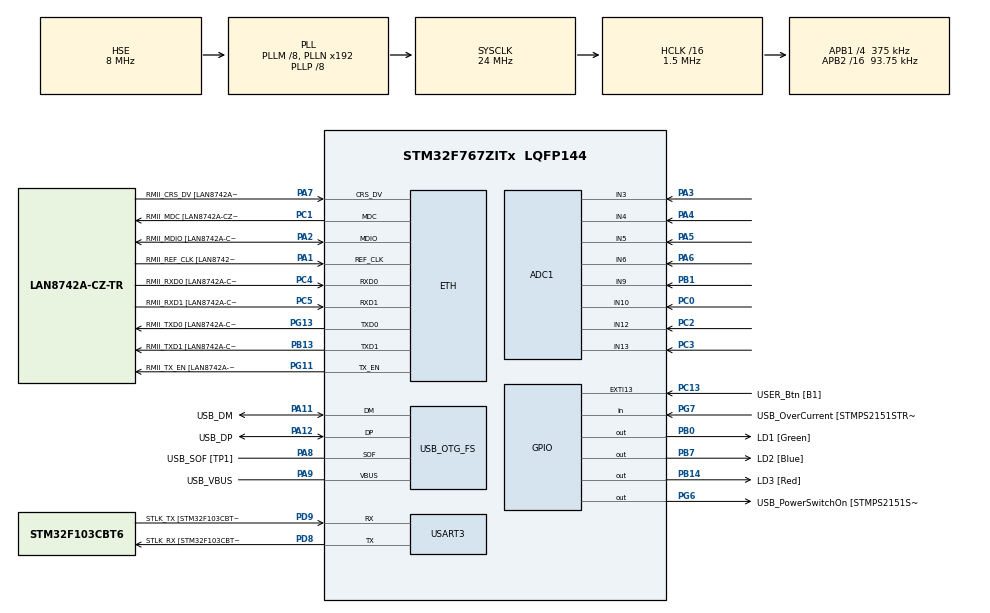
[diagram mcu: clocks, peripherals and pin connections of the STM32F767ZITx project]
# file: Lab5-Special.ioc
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ADC1.Channel-0\#ChannelRegularConversion=ADC_CHANNEL_12
ADC1.Channel-1\#ChannelRegularConversion=ADC_CHANNEL_13
ADC1.Channel-2\#ChannelRegularConversion=ADC_CHANNEL_10
ADC1.Channel-3\#ChannelRegularConversion=ADC_CHANNEL_3
ADC1.Channel-4\#ChannelRegularConversion=ADC_CHANNEL_4
ADC1.Channel-5\#ChannelRegularConversion=ADC_CHANNEL_5
ADC1.Channel-6\#ChannelRegularConversion=ADC_CHANNEL_6
ADC1.Channel-7\#ChannelRegularConversion=ADC_CHANNEL_9
ADC1.ClockPrescaler=ADC_CLOCK_SYNC_PCLK_DIV4
ADC1.ContinuousConvMode=ENABLE
ADC1.DMAContinuousRequests=ENABLE
ADC1.NbrOfConversion=8
ADC1.NbrOfConversionFlag=1
ADC1.Rank-0\#ChannelRegularConversion=1
ADC1.Rank-1\#ChannelRegularConversion=2
ADC1.Rank-2\#ChannelRegularConversion=3
ADC1.Rank-3\#ChannelRegularConversion=4
ADC1.Rank-4\#ChannelRegularConversion=5
ADC1.Rank-5\#ChannelRegularConversion=6
ADC1.Rank-6\#ChannelRegularConversion=7
ADC1.Rank-7\#ChannelRegularConversion=8
ADC1.SamplingTime-0\#ChannelRegularConversion=ADC_SAMPLETIME_480CYCLES
ADC1.SamplingTime-1\#ChannelRegularConversion=ADC_SAMPLETIME_480CYCLES
ADC1.SamplingTime-2\#ChannelRegularConversion=ADC_SAMPLETIME_480CYCLES
ADC1.SamplingTime-3\#ChannelRegularConversion=ADC_SAMPLETIME_480CYCLES
ADC1.SamplingTime-4\#ChannelRegularConversion=ADC_SAMPLETIME_480CYCLES
ADC1.SamplingTime-5\#ChannelRegularConversion=ADC_SAMPLETIME_480CYCLES
ADC1.SamplingTime-6\#ChannelRegularConversion=ADC_SAMPLETIME_480CYCLES
ADC1.SamplingTime-7\#ChannelRegularConversion=ADC_SAMPLETIME_480CYCLES
ADC1.ScanConvMode=ADC_SCAN_ENABLE
ADC1.master=1
Dma.ADC1.0.Direction=DMA_PERIPH_TO_MEMORY
Dma.ADC1.0.FIFOMode=DMA_FIFOMODE_DISABLE
Dma.ADC1.0.Instance=DMA2_Stream0
Dma.ADC1.0.MemDataAlignment=DMA_MDATAALIGN_WORD
Dma.ADC1.0.MemInc=DMA_MINC_ENABLE
Dma.ADC1.0.Mode=DMA_CIRCULAR
Dma.ADC1.0.PeriphDataAlignment=DMA_PDATAALIGN_WORD
Dma.ADC1.0.PeriphInc=DMA_PINC_DISABLE
Dma.ADC1.0.Priority=DMA_PRIORITY_LOW
Dma.Request0=ADC1
ETH.MediaInterface=HAL_ETH_RMII_MODE
ETH.PHY_Name=LAN8742A_PHY_ADDRESS
ETH.PHY_Value=0
ETH.PhyAddress=0
Mcu.Family=STM32F7
Mcu.Name=STM32F767ZITx
Mcu.Package=LQFP144
NVIC.DMA2_Stream0_IRQn=true\:1\:0\:true\:false\:true\:false\:true\:true
NVIC.PriorityGroup=NVIC_PRIORITYGROUP_2
PA1.GPIO_Label=RMII_REF_CLK [LAN8742A-CZ-TR_REFCLK0]
PA1.Mode=RMII
PA1.Signal=ETH_REF_CLK
PA10.GPIO_Label=USB_ID
PA10.Signal=USB_OTG_FS_ID
PA11.GPIO_Label=USB_DM
PA11.Mode=Device_Only
PA11.Signal=USB_OTG_FS_DM
PA12.GPIO_Label=USB_DP
PA12.Mode=Device_Only
PA12.Signal=USB_OTG_FS_DP
PA13.GPIO_Label=TMS
PA13.Mode=Serial_Wire
PA13.Signal=SYS_JTMS-SWDIO
PA14.GPIO_Label=TCK
PA14.Mode=Serial_Wire
PA14.Signal=SYS_JTCK-SWCLK
PA2.GPIO_Label=RMII_MDIO [LAN8742A-CZ-TR_MDIO]
PA2.Mode=RMII
PA2.Signal=ETH_MDIO
PA3.Signal=ADCx_IN3
PA4.Signal=ADCx_IN4
PA5.Signal=ADCx_IN5
PA6.Signal=ADCx_IN6
PA7.GPIO_Label=RMII_CRS_DV [LAN8742A-CZ-TR_CRS_DV]
PA7.Mode=RMII
PA7.Signal=ETH_CRS_DV
PA8.GPIO_Label=USB_SOF [TP1]
PA8.Mode=Activate_SOF_FS
PA8.Signal=USB_OTG_FS_SOF
PA9.GPIO_Label=USB_VBUS
PA9.Mode=Activate_VBUS
PA9.Signal=USB_OTG_FS_VBUS
PB0.GPIO_Label=LD1 [Green]
PB0.Signal=GPIO_Output
PB1.Signal=ADCx_IN9
PB13.GPIO_Label=RMII_TXD1 [LAN8742A-CZ-TR_TXD1]
PB13.Mode=RMII
PB13.Signal=ETH_TXD1
PB14.GPIO_Label=LD3 [Red]
PB14.Signal=GPIO_Output
PB3.GPIO_Label=SWO
PB3.Signal=SYS_JTDO-SWO
PB7.GPIO_Label=LD2 [Blue]
PB7.Signal=GPIO_Output
PC0.Signal=ADCx_IN10
PC1.GPIO_Label=RMII_MDC [LAN8742A-CZ-TR_MDC]
PC1.Mode=RMII
PC1.Signal=ETH_MDC
PC13.GPIO_Label=USER_Btn [B1]
PC13.Signal=GPXTI13
PC14/OSC32_IN.Mode=LSE-External-Oscillator
PC14/OSC32_IN.Signal=RCC_OSC32_IN
PC15/OSC32_OUT.Mode=LSE-External-Oscillator
PC15/OSC32_OUT.Signal=RCC_OSC32_OUT
PC2.Signal=ADCx_IN12
PC3.Signal=ADCx_IN13
PC4.GPIO_Label=RMII_RXD0 [LAN8742A-CZ-TR_RXD0]
PC4.Mode=RMII
PC4.Signal=ETH_RXD0
PC5.GPIO_Label=RMII_RXD1 [LAN8742A-CZ-TR_RXD1]
PC5.Mode=RMII
PC5.Signal=ETH_RXD1
PD8.GPIO_Label=STLK_RX [STM32F103CBT6_PA3]
PD8.Mode=Asynchronous
PD8.Signal=USART3_TX
PD9.GPIO_Label=STLK_TX [STM32F103CBT6_PA2]
PD9.Mode=Asynchronous
PD9.Signal=USART3_RX
PG11.GPIO_Label=RMII_TX_EN [LAN8742A-CZ-TR_TXEN]
PG11.Mode=RMII
PG11.Signal=ETH_TX_EN
PG13.GPIO_Label=RMII_TXD0 [LAN8742A-CZ-TR_TXD0]
PG13.Mode=RMII
PG13.Signal=ETH_TXD0
PG6.GPIO_Label=USB_PowerSwitchOn [STMPS2151STR_EN]
PG6.Signal=GPIO_Output
PG7.GPIO_Label=USB_OverCurrent [STMPS2151STR_FAULT]
PG7.Signal=GPIO_Input
PH0/OSC_IN.GPIO_Label=MCO [STM32F103CBT6_PA8]
PH0/OSC_IN.Mode=HSE-External-Clock-Source
PH0/OSC_IN.Signal=RCC_OSC_IN
PH1/OSC_OUT.Mode=HSE-External-Clock-Source
PH1/OSC_OUT.Signal=RCC_OSC_OUT
ProjectManager.HeapSize=0x200
ProjectManager.StackSize=0x400
ProjectManager.TargetToolchain=CMake
RCC.48MHZClocksFreq_Value=24000000
RCC.AHBCLKDivider=RCC_SYSCLK_DIV16
RCC.AHBFreq_Value=1500000
RCC.APB1CLKDivider=RCC_HCLK_DIV4
RCC.APB1Freq_Value=375000
RCC.APB1TimFreq_Value=750000
RCC.APB2CLKDivider=RCC_HCLK_DIV16
RCC.APB2Freq_Value=93750
RCC.APB2TimFreq_Value=187500
RCC.CortexFreq_Value=1500000
RCC.HCLKFreq_Value=1500000
RCC.HSE_VALUE=8000000
RCC.HSI_VALUE=16000000
RCC.PLL48CLockSelection=RCC_CLK48SOURCE_PLLSAIP
RCC.PLLM=8
RCC.PLLMUL=RCC_PLL_MUL9
RCC.PLLP=RCC_PLLP_DIV8
RCC.PLLQ=15
RCC.PRESCALERUSB=RCC_USBCLKSOURCE_PLL_DIV1_5
RCC.SYSCLKFreq_VALUE=24000000
RCC.SYSCLKSource=RCC_SYSCLKSOURCE_PLLCLK
RCC.SYSCLKSourceVirtual=RCC_SYSCLKSOURCE_PLLCLK
RCC.USART3CLockSelection=RCC_USART3CLKSOURCE_HSI
RCC.USBFreq_Value=96000000
RCC.VCOOutputFreq_Value=192000000
SH.ADCx_IN10.0=ADC1_IN10,IN10
SH.ADCx_IN12.0=ADC1_IN12,IN12
SH.ADCx_IN13.0=ADC1_IN13,IN13
SH.ADCx_IN3.0=ADC1_IN3,IN3
SH.ADCx_IN4.0=ADC1_IN4,IN4
SH.ADCx_IN5.0=ADC1_IN5,IN5
SH.ADCx_IN6.0=ADC1_IN6,IN6
SH.ADCx_IN9.0=ADC1_IN9,IN9
USART3.VirtualMode-Asynchronous=VM_ASYNC
USB_OTG_FS.VirtualMode=Device_Only
board=NUCLEO-F767ZI

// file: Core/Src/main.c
/* USER CODE BEGIN Header */
/**
  ******************************************************************************
  * @file           : main.c
  * @brief          : Main program body
  ******************************************************************************
  * @attention
  *
  * Copyright (c) 2025 STMicroelectronics.
  * All rights reserved.
  *
  * This software is licensed under terms that can be found in the LICENSE file
  * in the root directory of this software component.
  * If no LICENSE file comes with this software, it is provided AS-IS.
  *
  ******************************************************************************
  */
/* USER CODE END Header */
#include "main.h"
#include "stm32f7xx_hal.h"
#include "string.h"

/* USER CODE BEGIN Includes */
#include <stdio.h>
#include <stdint.h>
/* USER CODE END Includes */

/* USER CODE BEGIN PD */
#define ADC1_VALUE_COUNT 8
/* USER CODE END PD */

#if defined ( __ICCARM__ ) /*!< IAR Compiler */
#pragma location=0x2007c000
ETH_DMADescTypeDef  DMARxDscrTab[ETH_RX_DESC_CNT]; /* Ethernet Rx DMA Descriptors */
#pragma location=0x2007c0a0
ETH_DMADescTypeDef  DMATxDscrTab[ETH_TX_DESC_CNT]; /* Ethernet Tx DMA Descriptors */

#elif defined ( __CC_ARM )  /* MDK ARM Compiler */

__attribute__((at(0x2007c000))) ETH_DMADescTypeDef  DMARxDscrTab[ETH_RX_DESC_CNT]; /* Ethernet Rx DMA Descriptors */
__attribute__((at(0x2007c0a0))) ETH_DMADescTypeDef  DMATxDscrTab[ETH_TX_DESC_CNT]; /* Ethernet Tx DMA Descriptors */

#elif defined ( __GNUC__ ) /* GNU Compiler */

ETH_DMADescTypeDef DMARxDscrTab[ETH_RX_DESC_CNT] __attribute__((section(".RxDecripSection"))); /* Ethernet Rx DMA Descriptors */
ETH_DMADescTypeDef DMATxDscrTab[ETH_TX_DESC_CNT] __attribute__((section(".TxDecripSection")));   /* Ethernet Tx DMA Descriptors */
#endif

ETH_TxPacketConfig TxConfig;

ADC_HandleTypeDef hadc1;
DMA_HandleTypeDef hdma_adc1;

ETH_HandleTypeDef heth;

UART_HandleTypeDef huart3;

PCD_HandleTypeDef hpcd_USB_OTG_FS;

/* USER CODE BEGIN PV */
volatile uint8_t adcConversionComplete = 0;
volatile uint32_t adc1Values[ADC1_VALUE_COUNT];
char adcValueDisplayTemplatePt1[] = "\
\r\n\
ADC1_CH12 %#010x  Vin = %.2f V\r\n\
ADC1_CH13 %#010x  Vin = %.2f V\r\n\
ADC1_CH10 %#010x  Vin = %.2f V\r\n\
ADC1_CH3 %#010x  Vin = %.2f V\r\n";
char adcValueDisplayTemplatePt2[] = "\
\r\n\
ADC1_CH4 %#010x  Vin = %.2f V\r\n\
ADC1_CH5 %#010x  Vin = %.2f V\r\n\
ADC1_CH6 %#010x  Vin = %.2f V\r\n\
ADC1_CH9 %#010x  Vin = %.2f V\r\n";
char adcValueDisplayRender[300] = "\0";
/* USER CODE END PV */

void SystemClock_Config(void);
static void MX_GPIO_Init(void);
static void MX_DMA_Init(void);
static void MX_ADC1_Init(void);
static void MX_ETH_Init(void);
static void MX_USART3_UART_Init(void);
static void MX_USB_OTG_FS_PCD_Init(void);

/* USER CODE BEGIN 0 */
float calculateVin(uint32_t adcValue) {
  float v = ((float)adcValue / (float)(uint32_t)0x00000fff) * 3.3f;
  return v;
}

void adcDisplayReadValuesPt1() {
  sprintf(adcValueDisplayRender, adcValueDisplayTemplatePt1,
    adc1Values[0], calculateVin(adc1Values[0]),
    adc1Values[1], calculateVin(adc1Values[1]),
    adc1Values[2], calculateVin(adc1Values[2]),
    adc1Values[3], calculateVin(adc1Values[3])
  );
  HAL_UART_Transmit(&huart3, (uint8_t*) adcValueDisplayRender, strlen(adcValueDisplayRender), 100);
}

void adcDisplayReadValuesPt2() {
  sprintf(adcValueDisplayRender, adcValueDisplayTemplatePt2,
    adc1Values[4], calculateVin(adc1Values[4]),
    adc1Values[5], calculateVin(adc1Values[5]),
    adc1Values[6], calculateVin(adc1Values[6]),
    adc1Values[7], calculateVin(adc1Values[7])
  );
  HAL_UART_Transmit(&huart3, (uint8_t*) adcValueDisplayRender, strlen(adcValueDisplayRender), 100);
}

/* USER CODE END 0 */

int main(void)
{

  /* MCU Configuration--------------------------------------------------------*/

  /* Reset of all peripherals, Initializes the Flash interface and the Systick. */
  HAL_Init();

  /* Configure the system clock */
  SystemClock_Config();

  /* Initialize all configured peripherals */
  MX_GPIO_Init();
  MX_DMA_Init();
  MX_ADC1_Init();
  MX_ETH_Init();
  MX_USART3_UART_Init();
  MX_USB_OTG_FS_PCD_Init();
  /* USER CODE BEGIN 2 */
  HAL_ADC_Start_DMA(&hadc1, (uint32_t*) adc1Values, ADC1_VALUE_COUNT);
  /* USER CODE END 2 */

  /* Infinite loop */
  while (1)
  {

    /* USER CODE BEGIN 3 */
    // while (__HAL_UART_GET_FLAG(&huart3, UART_FLAG_TC) == RESET) {}
    // HAL_UART_Transmit(&huart3, (uint8_t*) "starting a while loop\r\n", 24, 100);

    // HAL_ADC_Start_DMA(&hadc1, (uint32_t*) adc1Values, ADC1_VALUE_COUNT);
    // HAL_Delay(300);
    // HAL_ADC_Stop_DMA(&hadc1);
    // HAL_Delay(300);

    // if (adcConversionComplete == 1) {
    //   adcDisplayReadValues();
    //   adcConversionComplete = 0;
    // }
    // HAL_Delay(300);

    // char testTemplate[] = "%#010x\r\n";
    // char testRender[100] = "\0";

    // sprintf(testRender, testTemplate, 0);

    // HAL_UART_Transmit(&huart3, (uint8_t*) testRender, strlen(testRender), 100);
    // HAL_Delay(300);
  }
  /* USER CODE END 3 */
}

void SystemClock_Config(void)
{
  RCC_OscInitTypeDef RCC_OscInitStruct = {0};
  RCC_ClkInitTypeDef RCC_ClkInitStruct = {0};

  /** Configure LSE Drive Capability
  */
  HAL_PWR_EnableBkUpAccess();

  /** Configure the main internal regulator output voltage
  */
  __HAL_RCC_PWR_CLK_ENABLE();
  __HAL_PWR_VOLTAGESCALING_CONFIG(PWR_REGULATOR_VOLTAGE_SCALE3);

  /** Initializes the RCC Oscillators according to the specified parameters
  * in the RCC_OscInitTypeDef structure.
  */
  RCC_OscInitStruct.OscillatorType = RCC_OSCILLATORTYPE_HSI|RCC_OSCILLATORTYPE_HSE;
  RCC_OscInitStruct.HSEState = RCC_HSE_BYPASS;
  RCC_OscInitStruct.HSIState = RCC_HSI_ON;
  RCC_OscInitStruct.HSICalibrationValue = RCC_HSICALIBRATION_DEFAULT;
  RCC_OscInitStruct.PLL.PLLState = RCC_PLL_ON;
  RCC_OscInitStruct.PLL.PLLSource = RCC_PLLSOURCE_HSE;
  RCC_OscInitStruct.PLL.PLLM = 8;
  RCC_OscInitStruct.PLL.PLLN = 192;
  RCC_OscInitStruct.PLL.PLLP = RCC_PLLP_DIV8;
  RCC_OscInitStruct.PLL.PLLQ = 15;
  RCC_OscInitStruct.PLL.PLLR = 2;
  if (HAL_RCC_OscConfig(&RCC_OscInitStruct) != HAL_OK)
  {
    Error_Handler();
  }

  /** Initializes the CPU, AHB and APB buses clocks
  */
  RCC_ClkInitStruct.ClockType = RCC_CLOCKTYPE_HCLK|RCC_CLOCKTYPE_SYSCLK
                              |RCC_CLOCKTYPE_PCLK1|RCC_CLOCKTYPE_PCLK2;
  RCC_ClkInitStruct.SYSCLKSource = RCC_SYSCLKSOURCE_PLLCLK;
  RCC_ClkInitStruct.AHBCLKDivider = RCC_SYSCLK_DIV16;
  RCC_ClkInitStruct.APB1CLKDivider = RCC_HCLK_DIV4;
  RCC_ClkInitStruct.APB2CLKDivider = RCC_HCLK_DIV16;

  if (HAL_RCC_ClockConfig(&RCC_ClkInitStruct, FLASH_LATENCY_0) != HAL_OK)
  {
    Error_Handler();
  }
}

static void MX_ADC1_Init(void)
{

  ADC_ChannelConfTypeDef sConfig = {0};

  /** Configure the global features of the ADC (Clock, Resolution, Data Alignment and number of conversion)
  */
  hadc1.Instance = ADC1;
  hadc1.Init.ClockPrescaler = ADC_CLOCK_SYNC_PCLK_DIV8;
  hadc1.Init.Resolution = ADC_RESOLUTION_12B;
  hadc1.Init.ScanConvMode = ADC_SCAN_ENABLE;
  hadc1.Init.ContinuousConvMode = ENABLE;
  hadc1.Init.DiscontinuousConvMode = DISABLE;
  hadc1.Init.ExternalTrigConvEdge = ADC_EXTERNALTRIGCONVEDGE_NONE;
  hadc1.Init.ExternalTrigConv = ADC_SOFTWARE_START;
  hadc1.Init.DataAlign = ADC_DATAALIGN_RIGHT;
  hadc1.Init.NbrOfConversion = 8;
  hadc1.Init.DMAContinuousRequests = ENABLE;
  hadc1.Init.EOCSelection = ADC_EOC_SINGLE_CONV;
  if (HAL_ADC_Init(&hadc1) != HAL_OK)
  {
    Error_Handler();
  }

  /** Configure for the selected ADC regular channel its corresponding rank in the sequencer and its sample time.
  */
  sConfig.Channel = ADC_CHANNEL_12;
  sConfig.Rank = ADC_REGULAR_RANK_1;
  sConfig.SamplingTime = ADC_SAMPLETIME_480CYCLES;
  if (HAL_ADC_ConfigChannel(&hadc1, &sConfig) != HAL_OK)
  {
    Error_Handler();
  }

  /** Configure for the selected ADC regular channel its corresponding rank in the sequencer and its sample time.
  */
  sConfig.Channel = ADC_CHANNEL_13;
  sConfig.Rank = ADC_REGULAR_RANK_2;
  if (HAL_ADC_ConfigChannel(&hadc1, &sConfig) != HAL_OK)
  {
    Error_Handler();
  }

  /** Configure for the selected ADC regular channel its corresponding rank in the sequencer and its sample time.
  */
  sConfig.Channel = ADC_CHANNEL_10;
  sConfig.Rank = ADC_REGULAR_RANK_3;
  if (HAL_ADC_ConfigChannel(&hadc1, &sConfig) != HAL_OK)
  {
    Error_Handler();
  }

  /** Configure for the selected ADC regular channel its corresponding rank in the sequencer and its sample time.
  */
  sConfig.Channel = ADC_CHANNEL_3;
  sConfig.Rank = ADC_REGULAR_RANK_4;
  if (HAL_ADC_ConfigChannel(&hadc1, &sConfig) != HAL_OK)
  {
    Error_Handler();
  }

  /** Configure for the selected ADC regular channel its corresponding rank in the sequencer and its sample time.
  */
  sConfig.Channel = ADC_CHANNEL_4;
  sConfig.Rank = ADC_REGULAR_RANK_5;
  if (HAL_ADC_ConfigChannel(&hadc1, &sConfig) != HAL_OK)
  {
    Error_Handler();
  }

  /** Configure for the selected ADC regular channel its corresponding rank in the sequencer and its sample time.
  */
  sConfig.Channel = ADC_CHANNEL_5;
  sConfig.Rank = ADC_REGULAR_RANK_6;
  if (HAL_ADC_ConfigChannel(&hadc1, &sConfig) != HAL_OK)
  {
    Error_Handler();
  }

  /** Configure for the selected ADC regular channel its corresponding rank in the sequencer and its sample time.
  */
  sConfig.Channel = ADC_CHANNEL_6;
  sConfig.Rank = ADC_REGULAR_RANK_7;
  if (HAL_ADC_ConfigChannel(&hadc1, &sConfig) != HAL_OK)
  {
    Error_Handler();
  }

  /** Configure for the selected ADC regular channel its corresponding rank in the sequencer and its sample time.
  */
  sConfig.Channel = ADC_CHANNEL_9;
  sConfig.Rank = ADC_REGULAR_RANK_8;
  if (HAL_ADC_ConfigChannel(&hadc1, &sConfig) != HAL_OK)
  {
    Error_Handler();
  }

}

static void MX_ETH_Init(void)
{

   static uint8_t MACAddr[6];

  heth.Instance = ETH;
  MACAddr[0] = 0x00;
  MACAddr[1] = 0x80;
  MACAddr[2] = 0xE1;
  MACAddr[3] = 0x00;
  MACAddr[4] = 0x00;
  MACAddr[5] = 0x00;
  heth.Init.MACAddr = &MACAddr[0];
  heth.Init.MediaInterface = HAL_ETH_RMII_MODE;
  heth.Init.TxDesc = DMATxDscrTab;
  heth.Init.RxDesc = DMARxDscrTab;
  heth.Init.RxBuffLen = 1524;

  if (HAL_ETH_Init(&heth) != HAL_OK)
  {
    Error_Handler();
  }

  memset(&TxConfig, 0 , sizeof(ETH_TxPacketConfig));
  TxConfig.Attributes = ETH_TX_PACKETS_FEATURES_CSUM | ETH_TX_PACKETS_FEATURES_CRCPAD;
  TxConfig.ChecksumCtrl = ETH_CHECKSUM_IPHDR_PAYLOAD_INSERT_PHDR_CALC;
  TxConfig.CRCPadCtrl = ETH_CRC_PAD_INSERT;

}

static void MX_USART3_UART_Init(void)
{

  huart3.Instance = USART3;
  huart3.Init.BaudRate = 115200;
  huart3.Init.WordLength = UART_WORDLENGTH_8B;
  huart3.Init.StopBits = UART_STOPBITS_1;
  huart3.Init.Parity = UART_PARITY_NONE;
  huart3.Init.Mode = UART_MODE_TX_RX;
  huart3.Init.HwFlowCtl = UART_HWCONTROL_NONE;
  huart3.Init.OverSampling = UART_OVERSAMPLING_16;
  huart3.Init.OneBitSampling = UART_ONE_BIT_SAMPLE_DISABLE;
  huart3.AdvancedInit.AdvFeatureInit = UART_ADVFEATURE_NO_INIT;
  if (HAL_UART_Init(&huart3) != HAL_OK)
  {
    Error_Handler();
  }

}

static void MX_USB_OTG_FS_PCD_Init(void)
{

  hpcd_USB_OTG_FS.Instance = USB_OTG_FS;
  hpcd_USB_OTG_FS.Init.dev_endpoints = 6;
  hpcd_USB_OTG_FS.Init.speed = PCD_SPEED_FULL;
  hpcd_USB_OTG_FS.Init.dma_enable = DISABLE;
  hpcd_USB_OTG_FS.Init.phy_itface = PCD_PHY_EMBEDDED;
  hpcd_USB_OTG_FS.Init.Sof_enable = ENABLE;
  hpcd_USB_OTG_FS.Init.low_power_enable = DISABLE;
  hpcd_USB_OTG_FS.Init.lpm_enable = DISABLE;
  hpcd_USB_OTG_FS.Init.vbus_sensing_enable = ENABLE;
  hpcd_USB_OTG_FS.Init.use_dedicated_ep1 = DISABLE;
  if (HAL_PCD_Init(&hpcd_USB_OTG_FS) != HAL_OK)
  {
    Error_Handler();
  }

}

static void MX_DMA_Init(void)
{

  /* DMA controller clock enable */
  __HAL_RCC_DMA2_CLK_ENABLE();

  /* DMA interrupt init */
  /* DMA2_Stream0_IRQn interrupt configuration */
  HAL_NVIC_SetPriority(DMA2_Stream0_IRQn, 1, 0);
  HAL_NVIC_EnableIRQ(DMA2_Stream0_IRQn);

}

static void MX_GPIO_Init(void)
{
  GPIO_InitTypeDef GPIO_InitStruct = {0};

  /* GPIO Ports Clock Enable */
  __HAL_RCC_GPIOC_CLK_ENABLE();
  __HAL_RCC_GPIOH_CLK_ENABLE();
  __HAL_RCC_GPIOA_CLK_ENABLE();
  __HAL_RCC_GPIOB_CLK_ENABLE();
  __HAL_RCC_GPIOD_CLK_ENABLE();
  __HAL_RCC_GPIOG_CLK_ENABLE();

  /*Configure GPIO pin Output Level */
  HAL_GPIO_WritePin(GPIOB, LD1_Pin|LD3_Pin|LD2_Pin, GPIO_PIN_RESET);

  /*Configure GPIO pin Output Level */
  HAL_GPIO_WritePin(USB_PowerSwitchOn_GPIO_Port, USB_PowerSwitchOn_Pin, GPIO_PIN_RESET);

  /*Configure GPIO pin : USER_Btn_Pin */
  GPIO_InitStruct.Pin = USER_Btn_Pin;
  GPIO_InitStruct.Mode = GPIO_MODE_IT_RISING;
  GPIO_InitStruct.Pull = GPIO_NOPULL;
  HAL_GPIO_Init(USER_Btn_GPIO_Port, &GPIO_InitStruct);

  /*Configure GPIO pins : LD1_Pin LD3_Pin LD2_Pin */
  GPIO_InitStruct.Pin = LD1_Pin|LD3_Pin|LD2_Pin;
  GPIO_InitStruct.Mode = GPIO_MODE_OUTPUT_PP;
  GPIO_InitStruct.Pull = GPIO_NOPULL;
  GPIO_InitStruct.Speed = GPIO_SPEED_FREQ_LOW;
  HAL_GPIO_Init(GPIOB, &GPIO_InitStruct);

  /*Configure GPIO pin : USB_PowerSwitchOn_Pin */
  GPIO_InitStruct.Pin = USB_PowerSwitchOn_Pin;
  GPIO_InitStruct.Mode = GPIO_MODE_OUTPUT_PP;
  GPIO_InitStruct.Pull = GPIO_NOPULL;
  GPIO_InitStruct.Speed = GPIO_SPEED_FREQ_LOW;
  HAL_GPIO_Init(USB_PowerSwitchOn_GPIO_Port, &GPIO_InitStruct);

  /*Configure GPIO pin : USB_OverCurrent_Pin */
  GPIO_InitStruct.Pin = USB_OverCurrent_Pin;
  GPIO_InitStruct.Mode = GPIO_MODE_INPUT;
  GPIO_InitStruct.Pull = GPIO_NOPULL;
  HAL_GPIO_Init(USB_OverCurrent_GPIO_Port, &GPIO_InitStruct);

}

/* USER CODE BEGIN 4 */
void HAL_ADC_ConvHalfCpltCallback(ADC_HandleTypeDef* hadc) {
  HAL_GPIO_WritePin(GPIOB, GPIO_PIN_7, GPIO_PIN_SET);

  // while (__HAL_UART_GET_FLAG(&huart3, UART_FLAG_TC) == RESET) {}
  // HAL_UART_Transmit(&huart3, (uint8_t*) "turning on LD1\r\n", 17, 100);

  adcDisplayReadValuesPt1();

  return;
}

void HAL_ADC_ConvCpltCallback(ADC_HandleTypeDef* hadc) {
  HAL_GPIO_WritePin(GPIOB, GPIO_PIN_7, GPIO_PIN_RESET);

  adcConversionComplete = 1;

  // while (__HAL_UART_GET_FLAG(&huart3, UART_FLAG_TC) == RESET) {}
  // HAL_UART_Transmit(&huart3, (uint8_t*) "turning off LD1\r\n", 18, 100);

  adcDisplayReadValuesPt2();

  return;
}
/* USER CODE END 4 */

void Error_Handler(void)
{
  __disable_irq();
  while (1)
  {
  }
}
